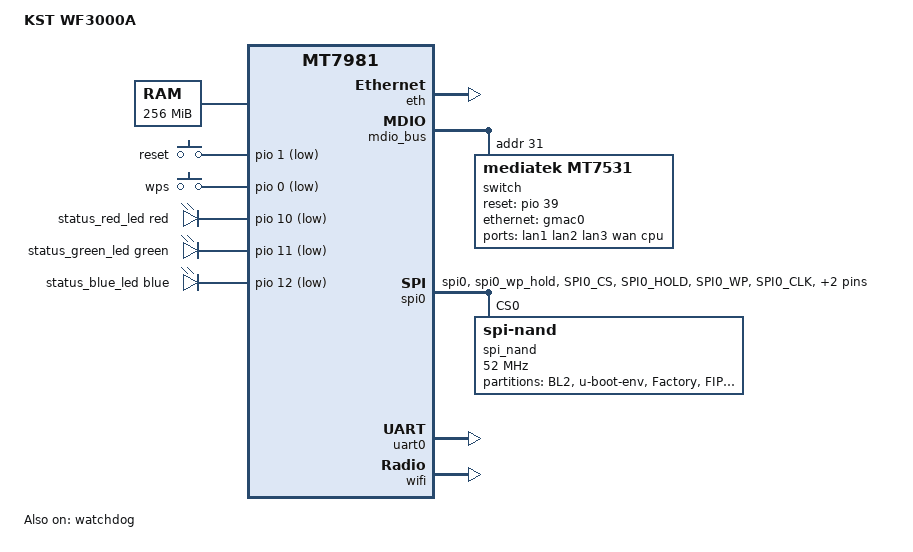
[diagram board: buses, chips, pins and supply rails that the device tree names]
// SPDX-License-Identifier: GPL-2.0-or-later OR MIT
/*
 * KST WF3000A (mt7981b, SPI-NAND, NMBM stock layout)
 *
 * 硬件描述取自厂商准确 DTS（techstay 仓库 mt7981-kst-wf3000a.dts），针对
 * immortalwrt 23.05 内核做规范化（参照同分支已验证可编的 qihoo_360t7 / cmcc_a10）：
 *   1) NMBM 绑定用 23.05 规范的 `mediatek,nmbm` 直挂 spi_nand（原 generic,nmbm +
 *      nmbm_spim_nand 包装节点会与 spi_nand 上的 mediatek,nmbm 双重挂载，ubi 落错 mtd）。
 *      分区硬件偏移全部保留（BL2/u-boot-env/FIP/ubi 位置不变）。
 *   2) 交换机走顶层 `&mdio_bus` + `&switch`（23.05 里 eth 的 MDIO 总线标签为 mdio_bus，
 *      内嵌 mdio 节点会挂到空总线）；switch 单元地址用 1f（=reg 31）。
 *   3) WiFi 用 `mediatek,mtd-eeprom = <&factory 0x0>`（23.05 验证可用的绑定），
 *      由 Factory 分区提供 RF 校准数据；mt7981 WiFi 默认 disabled，故显式 status="okay"。
 */

/dts-v1/;
#include <dt-bindings/gpio/gpio.h>
#include <dt-bindings/input/input.h>
#include <dt-bindings/leds/common.h>

#include "mt7981.dtsi"

/ {
	model = "KST WF3000A";
	compatible = "kst,wf3000a", "mediatek,mt7981";

	aliases {
		led-boot = &status_red_led;
		led-failsafe = &status_red_led;
		led-running = &status_green_led;
		led-upgrade = &status_blue_led;
		serial0 = &uart0;
	};

	chosen {
		stdout-path = "serial0:115200n8";
		bootargs = "console=ttyS0,115200n1 loglevel=8 earlycon=uart8250,mmio32,0x11002000";
	};

	memory {
		reg = <0 0x40000000 0 0x10000000>;
	};

	gpio-keys {
		compatible = "gpio-keys";

		button-reset {
			label = "reset";
			linux,code = <KEY_RESTART>;
			gpios = <&pio 1 GPIO_ACTIVE_LOW>;
		};

		button-wps {
			label = "wps";
			linux,code = <KEY_WPS_BUTTON>;
			gpios = <&pio 0 GPIO_ACTIVE_LOW>;
		};
	};

	gpio-leds {
		compatible = "gpio-leds";

		status_red_led: led-0 {
			function = LED_FUNCTION_STATUS;
			color = <LED_COLOR_ID_RED>;
			gpios = <&pio 10 GPIO_ACTIVE_LOW>;
		};

		status_green_led: led-1 {
			function = LED_FUNCTION_STATUS;
			color = <LED_COLOR_ID_GREEN>;
			gpios = <&pio 11 GPIO_ACTIVE_LOW>;
		};

		status_blue_led: led-2 {
			function = LED_FUNCTION_STATUS;
			color = <LED_COLOR_ID_BLUE>;
			gpios = <&pio 12 GPIO_ACTIVE_LOW>;
		};
	};
};

&eth {
	status = "okay";

	gmac0: mac@0 {
		compatible = "mediatek,eth-mac";
		reg = <0>;
		phy-mode = "2500base-x";

		fixed-link {
			speed = <2500>;
			full-duplex;
			pause;
		};
	};
};

&mdio_bus {
	switch: switch@1f {
		compatible = "mediatek,mt7531";
		reg = <31>;
		reset-gpios = <&pio 39 0>;

		ports {
			#address-cells = <1>;
			#size-cells = <0>;

			port@0 {
				reg = <0>;
				label = "lan1";
			};

			port@1 {
				reg = <1>;
				label = "lan2";
			};

			port@2 {
				reg = <2>;
				label = "lan3";
			};

			port@3 {
				reg = <3>;
				label = "wan";
			};

			port@6 {
				reg = <6>;
				label = "cpu";
				ethernet = <&gmac0>;
				phy-mode = "2500base-x";

				fixed-link {
					speed = <2500>;
					full-duplex;
					pause;
				};
			};
		};
	};
};

&spi0 {
	pinctrl-names = "default";
	pinctrl-0 = <&spi0_flash_pins>;
	status = "okay";

	spi_nand: flash@0 {
		#address-cells = <1>;
		#size-cells = <1>;
		compatible = "spi-nand";
		reg = <0>;
		spi-max-frequency = <52000000>;

		spi-cal-enable;
		spi-cal-mode = "read-data";
		spi-cal-datalen = <7>;
		spi-cal-data = /bits/ 8 <0x53 0x50 0x49 0x4E 0x41 0x4E 0x44>;
		spi-cal-addrlen = <5>;
		spi-cal-addr = /bits/ 32 <0x0 0x0 0x0 0x0 0x0>;

		spi-tx-bus-width = <4>;
		spi-rx-bus-width = <4>;
		mediatek,nmbm;
		mediatek,bmt-max-ratio = <1>;
		mediatek,bmt-max-reserved-blocks = <64>;

		partitions {
			compatible = "fixed-partitions";
			#address-cells = <1>;
			#size-cells = <1>;

			partition@0 {
				label = "BL2";
				reg = <0x00000 0x100000>;
			};

			partition@100000 {
				label = "u-boot-env";
				reg = <0x100000 0x80000>;
			};

			factory: partition@180000 {
				label = "Factory";
				reg = <0x180000 0x200000>;
				read-only;
			};

			partition@380000 {
				label = "FIP";
				reg = <0x380000 0x200000>;
			};

			partition@580000 {
				label = "ubi";
				reg = <0x580000 0x7200000>;
			};
		};
	};
};

&pio {
	spi0_flash_pins: spi0-pins {
		mux {
			function = "spi";
			groups = "spi0", "spi0_wp_hold";
		};

		conf-pu {
			pins = "SPI0_CS", "SPI0_HOLD", "SPI0_WP";
			drive-strength = <8>;
			bias-pull-up = <103>;
		};

		conf-pd {
			pins = "SPI0_CLK", "SPI0_MOSI", "SPI0_MISO";
			drive-strength = <8>;
			bias-pull-down = <103>;
		};
	};
};

&uart0 {
	status = "okay";
};

&watchdog {
	status = "okay";
};

&wifi {
	status = "okay";
	mediatek,mtd-eeprom = <&factory 0x0>;
};
